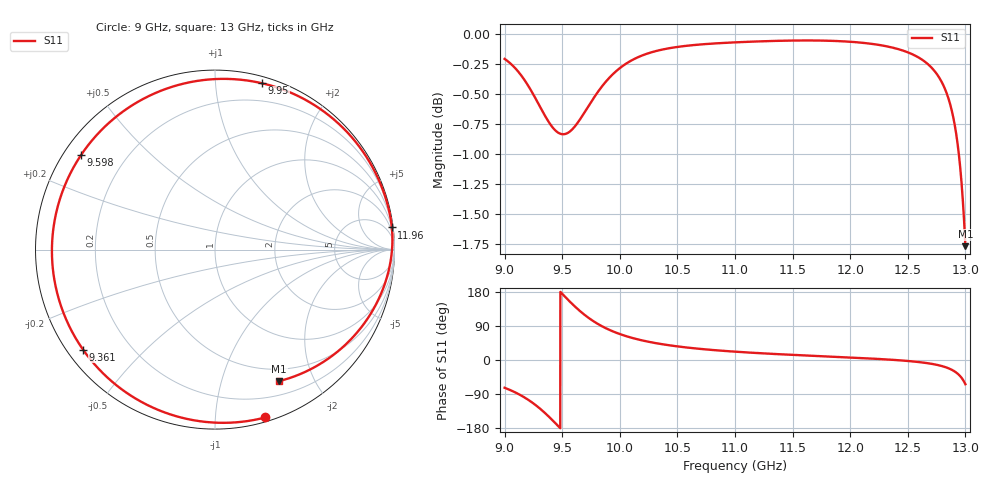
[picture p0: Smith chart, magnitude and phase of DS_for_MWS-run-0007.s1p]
! TOUCHSTONE file generated by CST DESIGN STUDIO
! Date and time: Tue Feb  4 16:43:52 2025
! Project name: C:\Work\MatlabApps\UnitCellOptimizationMatlab\CST\unitcell.cst
! Tree item: Tasks\Sweep1\SPara1\S-Parameters
! Header version: 2024
! Port assignment regex: !\s*Touchstone port\s*([0-9]+)\s*=\s*(CST MWS port|CST DES external port|CST DES block port)\s*(.+)\s* \(\"(.*)\"\)(\s*mode\s*([0-9]+))?.*
! Touchstone port assignment:
! Touchstone port 1 = CST DES external port 1 ("")
# GHz S MA R 50
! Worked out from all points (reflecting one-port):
!   4001 points, 9 GHz to 13 GHz, reference 50 ohm
!   lowest |S11| = -1.8 dB at 13 GHz (marker M1), VSWR 9.84, Z = 17.6 - j77.2 ohm
!   phase of S11 starts at -73 deg and turns -351 deg over the sweep
!   S11 on the Smith chart (normalised r, x): 9 GHz: 0.03, -1.34; 9.361 GHz: 0.04, -0.34; 9.598 GHz: 0.05, +0.32; 9.95 GHz: 0.05, +1.32; 11.96 GHz: 1, +16; 13 GHz: 0.35, -1.54
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9  0.9763 -73.3
9.095  0.9673 -85.9
9.207  0.9511 -105.4
9.286  0.9366 -123.0
9.361  0.9226 -142.8
9.434  0.9121 -164.6
9.5  0.9082 174.6
9.547  0.9092 159.9
9.598  0.9136 144.7
9.672  0.9239 124.6
9.75  0.9366 106.7
9.838  0.9498 90.3
9.95  0.9631 74.3
10  0.9677 68.5
10.101  0.9748 58.8
10.215  0.9804 50.3
10.5  0.9876 35.9
11  0.992 22.0
11.5  0.9937 13.5
11.958  0.9928 7.1
12  0.9925 6.5
12.5  0.9825 -2.6
12.716  0.967 -10.6
12.86  0.9375 -22.7
12.903  0.9187 -29.5
12.937  0.8961 -37.2
12.962  0.8721 -45.2
13  0.8155 -64.0
